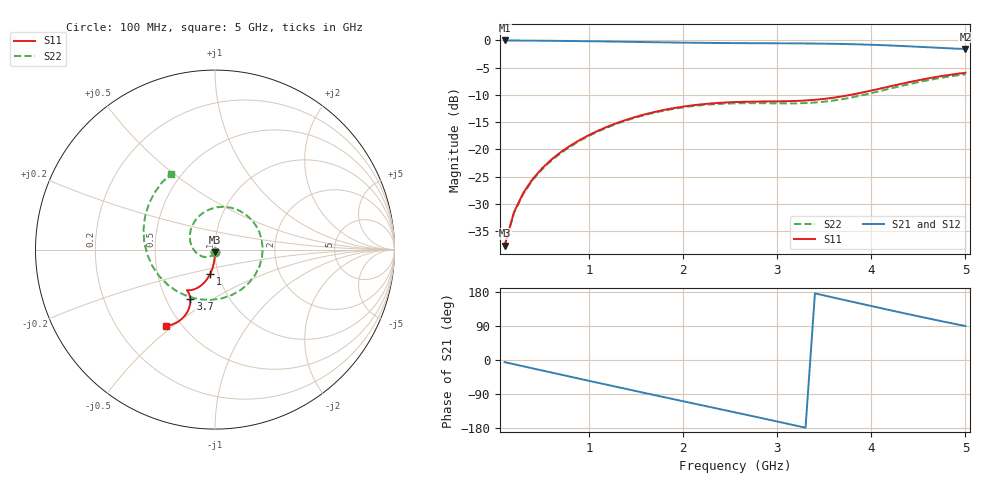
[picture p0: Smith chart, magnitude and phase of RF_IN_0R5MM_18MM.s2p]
! Created Tue Jul 13 10:25:20 2021
! List of port names and net name(s): example Port n = <port_name> <net_name1> <net_name2> ...
! Port 1 = P1 RF_IN GND GND
! Port 2 = P2 NetDD1_9 GND
# hz S ri R 50
! 2 Port Network Data from data block
! freq  reS11  imS11  reS21  imS21  reS12  imS12  reS22  imS22
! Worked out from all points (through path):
!   50 points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, 100 MHz to 5 GHz, reference 50 ohm
!   highest |S21| = -0.01 dB at 100 MHz (marker M1); lowest = -1.6 dB at 5 GHz (marker M2)
!   group delay of S21, straight-line fit = 150 ps
!   lowest |S11| = -37.6 dB at 100 MHz (marker M3), VSWR 1.03, Z = 50 - j1.32 ohm
!   |S11| at or under -10 dB: start of sweep to 3.774 GHz
!   |S22| runs from -37.7 to -6.2 dB; largest |S21 - S12| = 0
!   S11 on the Smith chart (normalised r, x): 100 MHz: 1.00, -0.03; 1 GHz: 0.92, -0.25; 3.7 GHz: 0.66, -0.40; 5 GHz: 0.41, -0.47
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1e8  0.000435 -0.0132  0.9936 -0.0974  0.9936 -0.0974  -0.00179 -0.0129
2e8  -0.000109 -0.0267  0.9784 -0.1926  0.9784 -0.1926  -0.0087 -0.0248
3e8  -0.00121 -0.0402  0.954 -0.2854  0.954 -0.2854  -0.0198 -0.0342
4e8  -0.00283 -0.0537  0.9208 -0.3751  0.9208 -0.3751  -0.0343 -0.0401
7e8  -0.0112 -0.0942  0.7723 -0.6176  0.7723 -0.6176  -0.0879 -0.0305
1e9  -0.026 -0.1335  0.5624 -0.8049  0.5624 -0.8049  -0.1316 0.0232
1.4e9  -0.0561 -0.1794  0.2221 -0.945  0.2221 -0.945  -0.1256 0.136
1.6e9  -0.0746 -0.1973  0.0413 -0.9639  0.0413 -0.9639  -0.0865 0.189
1.8e9  -0.094 -0.2109  -0.1378 -0.9491  -0.1378 -0.9491  -0.026 0.226
2.2e9  -0.1298 -0.225  -0.4684 -0.8259  -0.4684 -0.8259  0.1266 0.2214
2.6e9  -0.1522 -0.2265  -0.7317 -0.5958  -0.7317 -0.5958  0.2463 0.0991
2.8e9  -0.1562 -0.2263  -0.8282 -0.4485  -0.8282 -0.4485  0.2657 0.00598
3e9  -0.1555 -0.2282  -0.8962 -0.2849  -0.8962 -0.2849  0.2476 -0.0936
3.2e9  -0.151 -0.2342  -0.932 -0.11  -0.932 -0.11  0.1899 -0.1846
3.4e9  -0.1447 -0.2459  -0.9327 0.0697  -0.9327 0.0697  0.0968 -0.2514
3.7e9  -0.1375 -0.2754  -0.8655 0.3309  -0.8655 0.3309  -0.0845 -0.2773
3.9e9  -0.1385 -0.302  -0.7775 0.4866  -0.7775 0.4866  -0.208 -0.2351
4.2e9  -0.1538 -0.3467  -0.5941 0.6731  -0.5941 0.6731  -0.3501 -0.0901
4.4e9  -0.1744 -0.3753  -0.4492 0.7591  -0.4492 0.7591  -0.3944 0.0428
4.6e9  -0.2024 -0.3993  -0.2962 0.8128  -0.2962 0.8128  -0.3898 0.1842
4.8e9  -0.2358 -0.4164  -0.1427 0.8362  -0.1427 0.8362  -0.3377 0.316
5e9  -0.2721 -0.4252  0.0057 0.8328  0.0057 0.8328  -0.2454 0.4229
